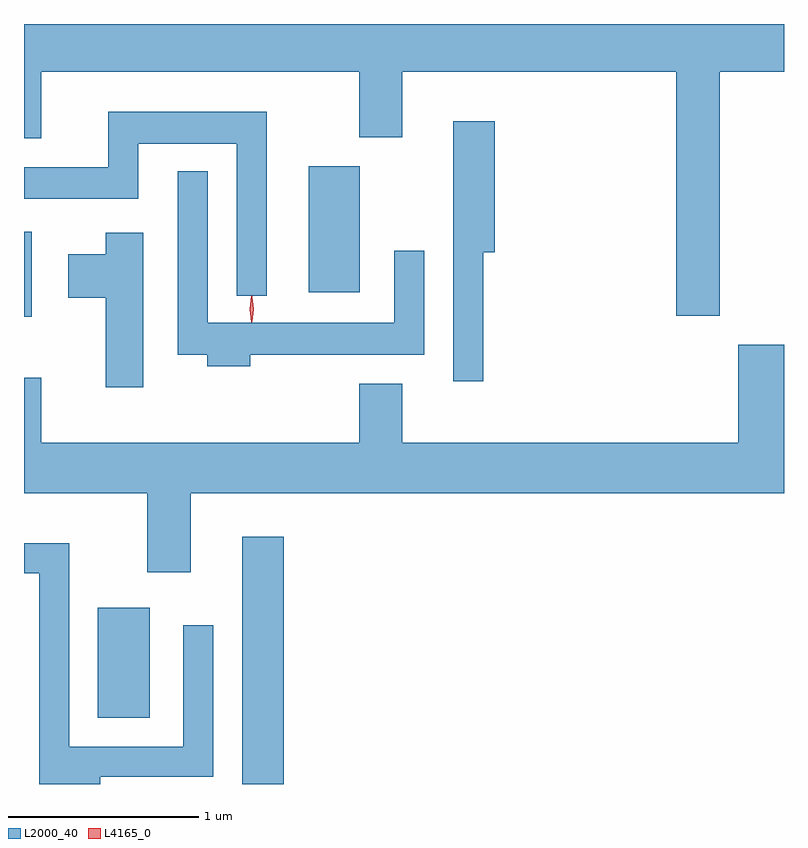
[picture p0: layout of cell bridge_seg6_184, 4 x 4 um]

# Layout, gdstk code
import gdstk
lib = gdstk.Library(unit=1e-6, precision=1e-09)
def R(c, l, rs):  # rectangles x0, y0, x1, y1
    for r in rs: c.add(gdstk.rectangle(r[:2], r[2:], *l))
def P(c, l, *ps):  # polygons
    for p in ps: c.add(gdstk.Polygon(p, *l))
L2000_40 = (2000, 40)
L4165_0 = (4165, 0)

bridge_seg6_184 = lib.new_cell('bridge_seg6_184')
R(bridge_seg6_184, L2000_40, [(1044.076,1572.927,1044.294,1574.229), (1043.316,1573.276,1043.589,1573.854), (1042.927,1575.386,1042.969,1575.834), (1044.426,1575.516,1044.694,1576.179)])
P(bridge_seg6_184, L2000_40, [(1046.589,1576.676),(1046.927,1576.676),(1046.927,1576.927),(1042.927,1576.927),(1042.927,1576.326),(1043.019,1576.326),(1043.019,1576.676),(1044.691,1576.676),(1044.691,1576.331),(1044.919,1576.331),(1044.919,1576.676),(1046.361,1576.676),(1046.361,1575.391),(1046.589,1575.391)],
  [(1044.204,1576.464),(1043.371,1576.464),(1043.371,1576.174),(1042.927,1576.174),(1042.927,1576.006),(1043.529,1576.006),(1043.529,1576.296),(1044.046,1576.296),(1044.046,1575.498),(1044.204,1575.498)],
  [(1045.344,1575.726),(1045.404,1575.726),(1045.404,1576.414),(1045.186,1576.414),(1045.186,1575.048),(1045.344,1575.048)],
  [(1044.119,1575.186),(1045.034,1575.186),(1045.034,1575.733),(1044.876,1575.733),(1044.876,1575.354),(1043.894,1575.354),(1043.894,1576.153),(1043.736,1576.153),(1043.736,1575.186),(1043.891,1575.186),(1043.891,1575.126),(1044.119,1575.126)],
  [(1043.554,1575.829),(1043.356,1575.829),(1043.356,1575.714),(1043.161,1575.714),(1043.161,1575.486),(1043.356,1575.486),(1043.356,1575.016),(1043.554,1575.016)],
  [(1043.804,1574.456),(1046.927,1574.456),(1046.927,1575.239),(1046.686,1575.239),(1046.686,1574.724),(1044.919,1574.724),(1044.919,1575.034),(1044.691,1575.034),(1044.691,1574.724),(1043.019,1574.724),(1043.019,1575.064),(1042.927,1575.064),(1042.927,1574.456),(1043.576,1574.456),(1043.576,1574.041),(1043.804,1574.041)],
  [(1043.329,1572.966),(1043.924,1572.966),(1043.924,1573.763),(1043.766,1573.763),(1043.766,1573.124),(1043.164,1573.124),(1043.164,1574.194),(1042.927,1574.194),(1042.927,1574.036),(1043.006,1574.036),(1043.006,1572.927),(1043.329,1572.927)])
P(bridge_seg6_184, L4165_0, [(1044.125,1575.357),(1044.124,1575.358),(1044.115,1575.427),(1044.124,1575.496),(1044.125,1575.496),(1044.126,1575.496),(1044.135,1575.427),(1044.126,1575.358)],
  [(1044.128,1575.359),(1044.127,1575.36),(1044.118,1575.426),(1044.127,1575.492),(1044.127,1575.493),(1044.128,1575.492),(1044.137,1575.426),(1044.128,1575.36)])

lib.write_gds('bridge_seg6_184.gds')
